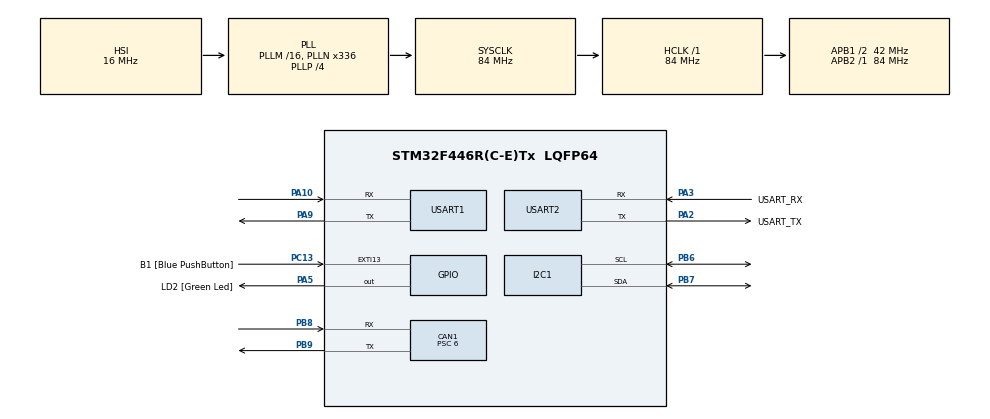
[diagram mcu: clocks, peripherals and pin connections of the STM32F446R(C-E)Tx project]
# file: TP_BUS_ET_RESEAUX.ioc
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CAN1.BS1=CAN_BS1_11TQ
CAN1.BS2=CAN_BS2_2TQ
CAN1.CalculateBaudRate=500000
CAN1.CalculateTimeBit=2000
CAN1.CalculateTimeQuantum=142.85714285714286
CAN1.Prescaler=6
Dma.Request0=USART1_RX
Dma.USART1_RX.0.Direction=DMA_PERIPH_TO_MEMORY
Dma.USART1_RX.0.FIFOMode=DMA_FIFOMODE_DISABLE
Dma.USART1_RX.0.Instance=DMA2_Stream2
Dma.USART1_RX.0.MemDataAlignment=DMA_MDATAALIGN_BYTE
Dma.USART1_RX.0.MemInc=DMA_MINC_ENABLE
Dma.USART1_RX.0.Mode=DMA_CIRCULAR
Dma.USART1_RX.0.PeriphDataAlignment=DMA_PDATAALIGN_BYTE
Dma.USART1_RX.0.PeriphInc=DMA_PINC_DISABLE
Dma.USART1_RX.0.Priority=DMA_PRIORITY_LOW
Mcu.Family=STM32F4
Mcu.Name=STM32F446R(C-E)Tx
Mcu.Package=LQFP64
NVIC.DMA2_Stream2_IRQn=true\:0\:0\:false\:false\:true\:false\:true\:true
NVIC.PriorityGroup=NVIC_PRIORITYGROUP_4
NVIC.TIM1_UP_TIM10_IRQn=true\:15\:0\:false\:false\:true\:false\:true\:true
NVIC.TimeBase=TIM1_UP_TIM10_IRQn
NVIC.TimeBaseIP=TIM1
PA10.Mode=Asynchronous
PA10.Signal=USART1_RX
PA13.GPIO_Label=TMS
PA13.Mode=Serial_Wire
PA13.Signal=SYS_JTMS-SWDIO
PA14.GPIO_Label=TCK
PA14.Mode=Serial_Wire
PA14.Signal=SYS_JTCK-SWCLK
PA2.GPIO_Label=USART_TX
PA2.Mode=Asynchronous
PA2.Signal=USART2_TX
PA3.GPIO_Label=USART_RX
PA3.Mode=Asynchronous
PA3.Signal=USART2_RX
PA5.GPIO_Label=LD2 [Green Led]
PA5.Signal=GPIO_Output
PA9.Mode=Asynchronous
PA9.Signal=USART1_TX
PB3.GPIO_Label=SWO
PB3.Signal=SYS_JTDO-SWO
PB6.Mode=I2C
PB6.Signal=I2C1_SCL
PB7.Mode=I2C
PB7.Signal=I2C1_SDA
PB8.Mode=CAN_Activate
PB8.Signal=CAN1_RX
PB9.Mode=CAN_Activate
PB9.Signal=CAN1_TX
PC13.GPIO_Label=B1 [Blue PushButton]
PC13.GPIO_ModeDefaultEXTI=GPIO_MODE_IT_FALLING
PC13.Signal=GPXTI13
PC14-OSC32_IN.Mode=LSE-External-Oscillator
PC14-OSC32_IN.Signal=RCC_OSC32_IN
PC15-OSC32_OUT.Mode=LSE-External-Oscillator
PC15-OSC32_OUT.Signal=RCC_OSC32_OUT
PH0-OSC_IN.Mode=HSE-External-Oscillator
PH0-OSC_IN.Signal=RCC_OSC_IN
PH1-OSC_OUT.Mode=HSE-External-Oscillator
PH1-OSC_OUT.Signal=RCC_OSC_OUT
ProjectManager.HeapSize=0x200
ProjectManager.StackSize=0x400
ProjectManager.TargetToolchain=STM32CubeIDE
RCC.48MHZClocksFreq_Value=84000000
RCC.AHBFreq_Value=84000000
RCC.APB1CLKDivider=RCC_HCLK_DIV2
RCC.APB1Freq_Value=42000000
RCC.APB1TimFreq_Value=84000000
RCC.APB2Freq_Value=84000000
RCC.APB2TimFreq_Value=84000000
RCC.CortexFreq_Value=84000000
RCC.FLatency-AdvancedSettings=FLASH_LATENCY_2
RCC.HCLKFreq_Value=84000000
RCC.HSE_VALUE=8000000
RCC.HSI_VALUE=16000000
RCC.PLLN=336
RCC.PLLP=RCC_PLLP_DIV4
RCC.SYSCLKFreq_VALUE=84000000
RCC.SYSCLKSource=RCC_SYSCLKSOURCE_PLLCLK
RCC.USBFreq_Value=168000000
RCC.VCOOutputFreq_Value=336000000
USART1.VirtualMode=VM_ASYNC
USART2.VirtualMode=VM_ASYNC
VP_SYS_VS_tim1.Mode=TIM1
board=NUCLEO-F446RE

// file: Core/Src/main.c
/* USER CODE BEGIN Header */
/**
 ******************************************************************************
 * @file           : main.c
 * @brief          : Main program body
 ******************************************************************************
 * @attention
 *
 * Copyright (c) 2025 STMicroelectronics.
 * All rights reserved.
 *
 * This software is licensed under terms that can be found in the LICENSE file
 * in the root directory of this software component.
 * If no LICENSE file comes with this software, it is provided AS-IS.
 *
 ******************************************************************************
 */
/* USER CODE END Header */
#include "main.h"
#include "can.h"
#include "dma.h"
#include "i2c.h"
#include "usart.h"
#include "gpio.h"

/* USER CODE BEGIN Includes */
#include "bmp280.h"
#include "mpu9250.h"
#include "com.h"
#include "Stepper_CAN.h"
/* USER CODE END Includes */

/* USER CODE BEGIN PV */
BMP280_HandleTypeDef bmp280;
mpu9250_data_t imu;
extern uint8_t rx_dma_buf[PROTO_UART_RX_BUF_SIZE];

float K=0.8;

uint8_t actual_angle=0;

StepperManualMode_t stepper_manual;
StepperAngleMode_t stepper_angle;
StepperSetMode_t stepper_set;

static void update_motor_from_temp(StepperAngleMode_t *mode,BMP280_HandleTypeDef * bmp280){
	mode->init_angle=0x7F;

	int temp_div=0;
	if(bmp280->prevous_temp!=0){
		temp_div=bmp280->cal_temp-bmp280->prevous_temp;
	}
	int delta=fabs(floorf(temp_div*K)) ;
	int16_t new_angle=0;
	if(temp_div>=0){
		new_angle=mode->previous_angle + delta;

	}else{

		new_angle=mode->previous_angle-delta;

	}
	if(new_angle>=0xFF){
		new_angle=0xFF;
	}
	if(new_angle<=0){
		new_angle=0;
	}

	actual_angle=new_angle;

	SetAngleData(&stepper_angle,(uint8_t *) new_angle, 0x01);

	bmp280->prevous_temp=bmp280->cal_temp;

}
/* USER CODE END PV */

void SystemClock_Config(void);

/* USER CODE BEGIN 0 */
#ifdef __GNUC__ /* With GCC/RAISONANCE, small printf (option LD Linker->Libraries->Small printf    set to 'Yes') calls __io_putchar() */
#define PUTCHAR_PROTOTYPE int __io_putchar(int ch)
#else
#define PUTCHAR_PROTOTYPE int fputc(int ch, FILE *f)
#endif /* __GNUC__ */

PUTCHAR_PROTOTYPE
{
	/* Place your implementation of fputc here */
	/* e.g. write a character to the USART2 and Loop until the end of transmission */
	HAL_UART_Transmit(&huart1, (uint8_t *)&ch, 1, 0xFFFF);
	HAL_UART_Transmit(&huart2, (uint8_t *)&ch, 1, 0xFFFF);

	return ch;
}
/* USER CODE END 0 */

int main(void)
{

	/* MCU Configuration--------------------------------------------------------*/

	/* Reset of all peripherals, Initializes the Flash interface and the Systick. */
	HAL_Init();

	/* Configure the system clock */
	SystemClock_Config();

	/* Initialize all configured peripherals */
	MX_GPIO_Init();
	MX_DMA_Init();
	MX_USART2_UART_Init();
	MX_I2C1_Init();
	MX_USART1_UART_Init();
	MX_CAN1_Init();
	/* USER CODE BEGIN 2 */
	HAL_Delay(10);
	BMP280_Init(&bmp280);
	printf("MPU9250 init...\r\n");
	if(!MPU9250_Init()) {
		printf("Erreur init MPU9250\r\n");
	}
	printf("MPU9250 OK\r\n");
	HAL_StatusTypeDef result=HAL_OK;
	if(HAL_UART_Receive_DMA(&huart1,(uint8_t *) rx_dma_buf,PROTO_UART_RX_BUF_SIZE)!=HAL_OK){
		result=HAL_ERROR;
	}
	if (HAL_CAN_Start(&hcan1)!=HAL_OK)
	{
		printf("Failed CAN1 Init\r\n");
	}

	/* USER CODE END 2 */

	/* Infinite loop */
	/* USER CODE BEGIN WHILE */
	while (1)
	{

		BMP280_ReadRaw(&bmp280);
		BMP280_Compensate_T_int32(&bmp280);
		BMP280_Compensate_P_uint32(&bmp280);
		if(MPU9250_ReadAll(&imu)) {
			//printf("ACC: ax = %.3f g | ay = %.3f g | az = %.3f g\r\n", imu.ax, imu.ay, imu.az);
		}

		PROTO_Process();
		HAL_GPIO_TogglePin(GPIOA,GPIO_PIN_5);
		update_motor_from_temp(&stepper_angle,&bmp280);
		HAL_Delay(100);

		/* USER CODE END WHILE */

	}
}

void SystemClock_Config(void)
{
	RCC_OscInitTypeDef RCC_OscInitStruct = {0};
	RCC_ClkInitTypeDef RCC_ClkInitStruct = {0};

	/** Configure the main internal regulator output voltage
	 */
	__HAL_RCC_PWR_CLK_ENABLE();
	__HAL_PWR_VOLTAGESCALING_CONFIG(PWR_REGULATOR_VOLTAGE_SCALE3);

	/** Initializes the RCC Oscillators according to the specified parameters
	 * in the RCC_OscInitTypeDef structure.
	 */
	RCC_OscInitStruct.OscillatorType = RCC_OSCILLATORTYPE_HSI;
	RCC_OscInitStruct.HSIState = RCC_HSI_ON;
	RCC_OscInitStruct.HSICalibrationValue = RCC_HSICALIBRATION_DEFAULT;
	RCC_OscInitStruct.PLL.PLLState = RCC_PLL_ON;
	RCC_OscInitStruct.PLL.PLLSource = RCC_PLLSOURCE_HSI;
	RCC_OscInitStruct.PLL.PLLM = 16;
	RCC_OscInitStruct.PLL.PLLN = 336;
	RCC_OscInitStruct.PLL.PLLP = RCC_PLLP_DIV4;
	RCC_OscInitStruct.PLL.PLLQ = 2;
	RCC_OscInitStruct.PLL.PLLR = 2;
	if (HAL_RCC_OscConfig(&RCC_OscInitStruct) != HAL_OK)
	{
		Error_Handler();
	}

	/** Initializes the CPU, AHB and APB buses clocks
	 */
	RCC_ClkInitStruct.ClockType = RCC_CLOCKTYPE_HCLK|RCC_CLOCKTYPE_SYSCLK
			|RCC_CLOCKTYPE_PCLK1|RCC_CLOCKTYPE_PCLK2;
	RCC_ClkInitStruct.SYSCLKSource = RCC_SYSCLKSOURCE_PLLCLK;
	RCC_ClkInitStruct.AHBCLKDivider = RCC_SYSCLK_DIV1;
	RCC_ClkInitStruct.APB1CLKDivider = RCC_HCLK_DIV2;
	RCC_ClkInitStruct.APB2CLKDivider = RCC_HCLK_DIV1;

	if (HAL_RCC_ClockConfig(&RCC_ClkInitStruct, FLASH_LATENCY_2) != HAL_OK)
	{
		Error_Handler();
	}
}

void HAL_TIM_PeriodElapsedCallback(TIM_HandleTypeDef *htim)
{
	if (htim->Instance == TIM1)
	{
		HAL_IncTick();
	}
}

void Error_Handler(void)
{
	__disable_irq();
	while (1)
	{
	}
}
